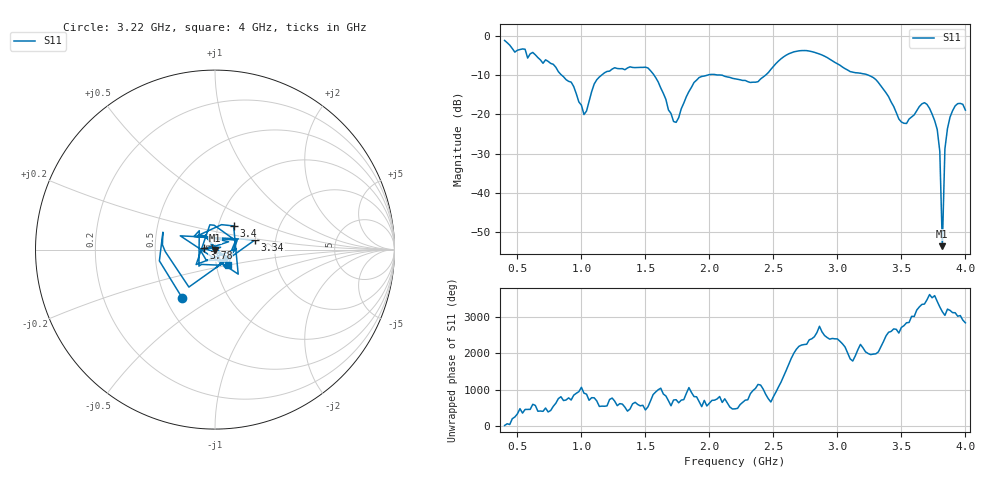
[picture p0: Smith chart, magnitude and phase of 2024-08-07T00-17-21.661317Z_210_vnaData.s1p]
!Created with skrf (http://scikit-rf.org).
# Hz S RI R 50.0
!freq ReS11 ImS11
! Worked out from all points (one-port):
!   181 points, 400 MHz to 4 GHz, reference 50 ohm
!   lowest |S11| = -53.5 dB at 3.82 GHz (marker M1), VSWR 1.00, Z = 49.9 - j0.2 ohm
!   |S11| at or under -10 dB: 1.567 GHz to 1.987 GHz (419.8 MHz wide, 23.6 % of centre); 2.089 GHz to 2.44 GHz (350.6 MHz wide, 15.5 % of centre); 3.24 GHz to end of sweep (the widest 3 of 4)
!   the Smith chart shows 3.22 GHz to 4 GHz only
!   S11 on the Smith chart (normalised r, x): 3.22 GHz: 0.61, -0.36; 3.34 GHz: 1.56, +0.18; 3.4 GHz: 1.18, +0.32; 3.78 GHz: 0.88, +0.01; 4 GHz: 1.14, -0.20
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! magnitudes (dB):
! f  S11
! 400 MHz  -1.2
! 860 MHz  -10.4
! 940 MHz  -12.9
! 1.02 GHz  -20.0
! 1.12 GHz  -11.2
! 1.3 GHz  -8.4
! 1.52 GHz  -8.2
! 1.6 GHz  -11.8
! 1.72 GHz  -21.8
! 1.76 GHz  -20.8
! 1.92 GHz  -10.6
! 2.2 GHz  -10.9
! 2.38 GHz  -11.7
! 2.66 GHz  -4.1
! 3.1 GHz  -9.1
! 3.22 GHz  -9.8
! 3.34 GHz  -12.8
! 3.4 GHz  -15.5
! 3.5 GHz  -21.9
! 3.56 GHz  -21.2
! 3.68 GHz  -17.0
! 3.78 GHz  -23.9
! 3.8 GHz  -29.4
! 3.82 GHz  -53.5
! 3.84 GHz  -28.8
! 3.86 GHz  -23.6
! 3.92 GHz  -17.8
! 4 GHz  -18.9
